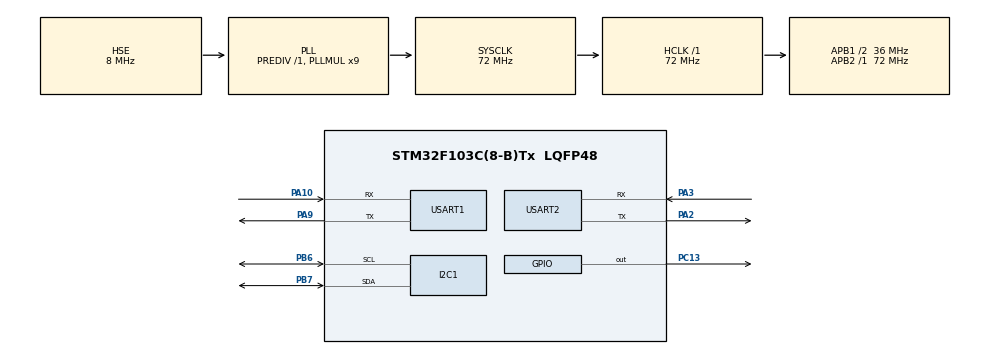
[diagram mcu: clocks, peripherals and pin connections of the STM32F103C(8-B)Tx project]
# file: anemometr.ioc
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Dma.Request0=USART2_RX
Dma.USART2_RX.0.Direction=DMA_PERIPH_TO_MEMORY
Dma.USART2_RX.0.Instance=DMA1_Channel6
Dma.USART2_RX.0.MemDataAlignment=DMA_MDATAALIGN_BYTE
Dma.USART2_RX.0.MemInc=DMA_MINC_ENABLE
Dma.USART2_RX.0.Mode=DMA_NORMAL
Dma.USART2_RX.0.PeriphDataAlignment=DMA_PDATAALIGN_BYTE
Dma.USART2_RX.0.PeriphInc=DMA_PINC_DISABLE
Dma.USART2_RX.0.Priority=DMA_PRIORITY_LOW
I2C1.I2C_Mode=I2C_Fast
Mcu.Family=STM32F1
Mcu.Name=STM32F103C(8-B)Tx
Mcu.Package=LQFP48
NVIC.DMA1_Channel6_IRQn=true\:0\:0\:false\:false\:true\:false\:true\:true
NVIC.PriorityGroup=NVIC_PRIORITYGROUP_4
NVIC.RTC_IRQn=true\:0\:0\:false\:false\:true\:true\:true\:true
NVIC.USART2_IRQn=true\:0\:0\:false\:false\:true\:true\:true\:true
PA10.Mode=Asynchronous
PA10.Signal=USART1_RX
PA13.Mode=Serial_Wire
PA13.Signal=SYS_JTMS-SWDIO
PA14.Mode=Serial_Wire
PA14.Signal=SYS_JTCK-SWCLK
PA2.Mode=Asynchronous
PA2.Signal=USART2_TX
PA3.Mode=Asynchronous
PA3.Signal=USART2_RX
PA9.Mode=Asynchronous
PA9.Signal=USART1_TX
PB6.GPIO_Pu=GPIO_PULLUP
PB6.Mode=I2C
PB6.Signal=I2C1_SCL
PB7.GPIO_Pu=GPIO_PULLUP
PB7.Mode=I2C
PB7.Signal=I2C1_SDA
PC13-TAMPER-RTC.Signal=GPIO_Output
PC14-OSC32_IN.Mode=LSE-External-Oscillator
PC14-OSC32_IN.Signal=RCC_OSC32_IN
PC15-OSC32_OUT.Mode=LSE-External-Oscillator
PC15-OSC32_OUT.Signal=RCC_OSC32_OUT
PD0-OSC_IN.Mode=HSE-External-Oscillator
PD0-OSC_IN.Signal=RCC_OSC_IN
PD1-OSC_OUT.Mode=HSE-External-Oscillator
PD1-OSC_OUT.Signal=RCC_OSC_OUT
ProjectManager.HeapSize=0x200
ProjectManager.StackSize=0x400
ProjectManager.TargetToolchain=STM32CubeIDE
RCC.AHBFreq_Value=72000000
RCC.APB1CLKDivider=RCC_HCLK_DIV2
RCC.APB1Freq_Value=36000000
RCC.APB1TimFreq_Value=72000000
RCC.APB2Freq_Value=72000000
RCC.APB2TimFreq_Value=72000000
RCC.HCLKFreq_Value=72000000
RCC.PLLMUL=RCC_PLL_MUL9
RCC.PLLSourceVirtual=RCC_PLLSOURCE_HSE
RCC.RTCClockSelection=RCC_RTCCLKSOURCE_LSE
RCC.SYSCLKFreq_VALUE=72000000
RCC.SYSCLKSource=RCC_SYSCLKSOURCE_PLLCLK
RCC.USBFreq_Value=72000000
RTC.WeekDay=RTC_WEEKDAY_SUNDAY
USART1.VirtualMode=VM_ASYNC
USART2.VirtualMode=VM_ASYNC
VP_RTC_No_RTC_Output.Mode=RTC_OUT_NO
VP_RTC_VS_RTC_Activate.Mode=RTC_Enabled
VP_RTC_VS_RTC_Calendar.Mode=RTC_Calendar
board=custom

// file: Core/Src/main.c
/* USER CODE BEGIN Header */
/**
  ******************************************************************************
  * @file           : main.c
  * @brief          : Main program body
  ******************************************************************************
  * @attention
  *
  * <h2><center>&copy; Copyright (c) 2021 STMicroelectronics.
  * All rights reserved.</center></h2>
  *
  * This software component is licensed by ST under BSD 3-Clause license,
  * the "License"; You may not use this file except in compliance with the
  * License. You may obtain a copy of the License at:
  *                        opensource.org/licenses/BSD-3-Clause
  *
  ******************************************************************************
  */
/* USER CODE END Header */
#include "main.h"
#include "dma.h"
#include "i2c.h"
#include "rtc.h"
#include "usart.h"
#include "gpio.h"

/* USER CODE BEGIN Includes */
#include "sim800.h"
#include <stdio.h>
#include "ssd1306.h"
#include "fonts.h"
#include "printLCD.h"

/* USER CODE END Includes */

/* USER CODE BEGIN PD */
RTC_TimeTypeDef clkTime;
RTC_DateTypeDef clkDate;
uint8_t secondFlag = 1;
/* USER CODE END PD */

void SystemClock_Config(void);

/* USER CODE BEGIN 0 */
void setTime();
void printTime(const RTC_DateTypeDef *date, const RTC_TimeTypeDef *time);

uint8_t isTimeOk = 0;
uint16_t timers[10];

void printUNum(uint8_t num) {
  HAL_UART_Transmit(&huart1, num, sizeof(num), 100);
};
void printlnUNum(int num) {
  char buffer[20] = {};
  sprintf(buffer, "%d", num);
  printlnUStr((uint8_t *) buffer);
};

void printUStr(uint8_t* str) {
  HAL_UART_Transmit(&huart1, str, strlen(str), 100);
};

void printlnUStr(uint8_t* str) {
  printUStr(str);
  printUStr("\r\n");
};
/* USER CODE END 0 */

int main(void)
{

  /* MCU Configuration--------------------------------------------------------*/

  /* Reset of all peripherals, Initializes the Flash interface and the Systick. */
  HAL_Init();

  /* Configure the system clock */
  SystemClock_Config();

  /* Initialize all configured peripherals */
  MX_GPIO_Init();
  MX_DMA_Init();
  MX_USART2_UART_Init();
  MX_RTC_Init();
  MX_I2C1_Init();
  MX_USART1_UART_Init();
  /* USER CODE BEGIN 2 */
  printlnUStr("START.");
  HAL_RTC_Init(&hrtc);
  HAL_RTCEx_SetSecond_IT(&hrtc);
  SIM800_Init(&huart2);
//  initPrintLCD(&Font_11x18);
  if (sendATCommand("AT")) {
    setTime();
  } else {
    printlnUStr("ERROR");
  }
  printlnUStr("DELAY 5000");
  HAL_Delay(5000);
//  SSD1306_UpdateScreen();

  /* USER CODE END 2 */

  /* Infinite loop */
  /* USER CODE BEGIN WHILE */
  while (1)
  {
    secondTick();
    /* USER CODE END WHILE */

  }
}

void setTime() {
  uint8_t responseSize = sendGETRequest("");
  if (responseSize == 0) {
    termConnection();
    return;
  }
  uint8_t* serverTime = getResponse();

  printlnUStr(serverTime);

  uint8_t i = 13;
  clkDate.Date = atoi(&serverTime[i]);
  clkDate.Month = atoi(&serverTime[i + 3]);
  clkDate.Year = atoi(&serverTime[i + 6]) - 2000;
  clkTime.Hours = atoi(&serverTime[i + 11]);
  clkTime.Minutes = atoi(&serverTime[i + 14]);
  clkTime.Seconds = atoi(&serverTime[i + 17]);
  HAL_RTC_SetTime(&hrtc, &clkTime, RTC_FORMAT_BIN);
  HAL_RTC_SetDate(&hrtc, &clkDate, RTC_FORMAT_BIN);
  termConnection();
  isTimeOk = 1;
}

void SystemClock_Config(void)
{
  RCC_OscInitTypeDef RCC_OscInitStruct = {0};
  RCC_ClkInitTypeDef RCC_ClkInitStruct = {0};
  RCC_PeriphCLKInitTypeDef PeriphClkInit = {0};

  /** Initializes the RCC Oscillators according to the specified parameters
  * in the RCC_OscInitTypeDef structure.
  */
  RCC_OscInitStruct.OscillatorType = RCC_OSCILLATORTYPE_HSE|RCC_OSCILLATORTYPE_LSE;
  RCC_OscInitStruct.HSEState = RCC_HSE_ON;
  RCC_OscInitStruct.HSEPredivValue = RCC_HSE_PREDIV_DIV1;
  RCC_OscInitStruct.LSEState = RCC_LSE_ON;
  RCC_OscInitStruct.HSIState = RCC_HSI_ON;
  RCC_OscInitStruct.PLL.PLLState = RCC_PLL_ON;
  RCC_OscInitStruct.PLL.PLLSource = RCC_PLLSOURCE_HSE;
  RCC_OscInitStruct.PLL.PLLMUL = RCC_PLL_MUL9;
  if (HAL_RCC_OscConfig(&RCC_OscInitStruct) != HAL_OK)
  {
    Error_Handler();
  }

  /** Initializes the CPU, AHB and APB buses clocks
  */
  RCC_ClkInitStruct.ClockType = RCC_CLOCKTYPE_HCLK|RCC_CLOCKTYPE_SYSCLK
                              |RCC_CLOCKTYPE_PCLK1|RCC_CLOCKTYPE_PCLK2;
  RCC_ClkInitStruct.SYSCLKSource = RCC_SYSCLKSOURCE_PLLCLK;
  RCC_ClkInitStruct.AHBCLKDivider = RCC_SYSCLK_DIV1;
  RCC_ClkInitStruct.APB1CLKDivider = RCC_HCLK_DIV2;
  RCC_ClkInitStruct.APB2CLKDivider = RCC_HCLK_DIV1;

  if (HAL_RCC_ClockConfig(&RCC_ClkInitStruct, FLASH_LATENCY_2) != HAL_OK)
  {
    Error_Handler();
  }
  PeriphClkInit.PeriphClockSelection = RCC_PERIPHCLK_RTC;
  PeriphClkInit.RTCClockSelection = RCC_RTCCLKSOURCE_LSE;
  if (HAL_RCCEx_PeriphCLKConfig(&PeriphClkInit) != HAL_OK)
  {
    Error_Handler();
  }
}

/* USER CODE BEGIN 4 */
uint8_t timeHasCome(uint8_t timerId, uint8_t minutesDelay) {
  if (timers[timerId] == 0) {
    timers[timerId] = minutesDelay;
    return 1;
  }
  return 0;
}

void decreaseTimers(const RTC_TimeTypeDef *time) {
  if (time->Seconds != 0) {
    return;
  }

  for (int i = 0; i < 10; ++i) {
    if (timers[i] > 0) {
      timers[i] = timers[i] - 1;
    }
  }
}

void tick(RTC_DateTypeDef *date, RTC_TimeTypeDef *time) {
  printTime(date, time);

  if (timeHasCome(1, 1)) {
    if (!isTimeOk) {
      setTime();
    }
  }
}

void printTime(const RTC_DateTypeDef *date, const RTC_TimeTypeDef *time) {
  char str[25] = {0};

  sprintf(str, "%.2x/%.2x/20%.2x", date->Date, date->Month, date->Year);
//  clearLCD();
//  printlnStr(str);
  printUStr(str);
  printUStr(" ");

  sprintf(str, "%.2x:%.2x:%.2x", time->Hours, time->Minutes, time->Seconds);
  printlnUStr(str);

  str[0] = 0;
}

void secondTick() {
  if (secondFlag == 0) {
    return;
  }

  HAL_RTC_GetTime(&hrtc, &clkTime, RTC_FORMAT_BCD);
  HAL_RTC_GetDate(&hrtc, &clkDate, RTC_FORMAT_BCD);
  decreaseTimers(&clkTime);
  tick(&clkDate, &clkTime);

  secondFlag = 0;
}
/* USER CODE END 4 */

void Error_Handler(void)
{
  __disable_irq();
  while (1)
  {
  }
}
